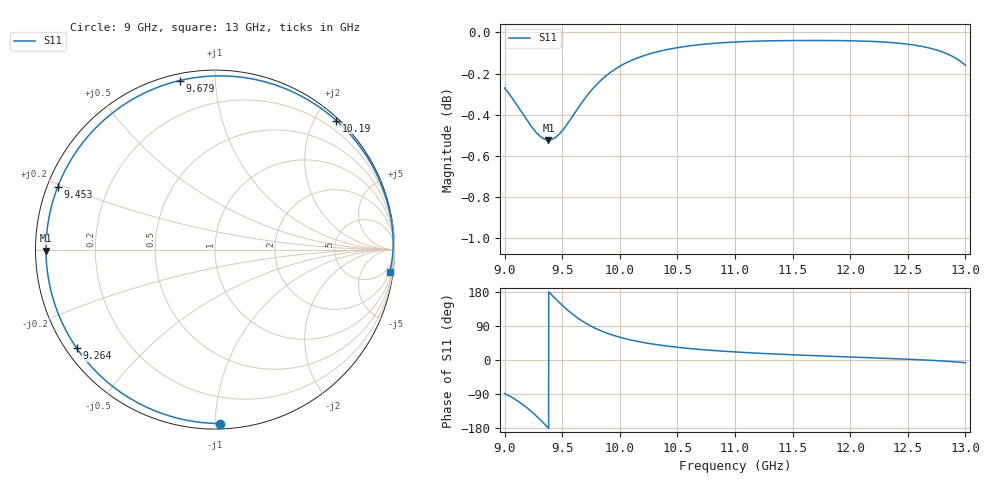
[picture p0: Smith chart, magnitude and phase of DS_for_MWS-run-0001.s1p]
! TOUCHSTONE file generated by CST DESIGN STUDIO
! Date and time: Tue Feb  4 17:12:42 2025
! Project name: C:\Work\MatlabApps\UnitCellOptimizationMatlab\CST\unitcell.cst
! Tree item: Tasks\Sweep1\SPara1\S-Parameters
! Header version: 2024
! Port assignment regex: !\s*Touchstone port\s*([0-9]+)\s*=\s*(CST MWS port|CST DES external port|CST DES block port)\s*(.+)\s* \(\"(.*)\"\)(\s*mode\s*([0-9]+))?.*
! Touchstone port assignment:
! Touchstone port 1 = CST DES external port 1 ("")
# GHz S MA R 50
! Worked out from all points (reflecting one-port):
!   4001 points, 9 GHz to 13 GHz, reference 50 ohm
!   lowest |S11| = -0.5 dB at 9.381 GHz (marker M1), VSWR 33.26, Z = 1.5 - j0.176 ohm
!   phase of S11 starts at -88 deg and turns -279 deg over the sweep
!   S11 on the Smith chart (normalised r, x): 9 GHz: 0.03, -1.03; 9.264 GHz: 0.03, -0.32; 9.453 GHz: 0.03, +0.19; 9.679 GHz: 0.03, +0.81; 10.19 GHz: 0.04, +2.31; 13 GHz: 2, -15
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9  0.9694 -88.3
9.077  0.9629 -101.1
9.144  0.9568 -114.6
9.205  0.9511 -128.9
9.264  0.9463 -144.6
9.325  0.9428 -162.4
9.381  0.9416 -179.6
9.416  0.9421 169.6
9.453  0.9435 158.3
9.5  0.9464 144.5
9.543  0.9499 132.7
9.586  0.9538 121.9
9.631  0.9579 111.6
9.679  0.9622 101.8
9.748  0.9677 89.7
9.832  0.9733 77.6
9.913  0.9776 68.3
10  0.9812 60.1
10.091  0.9842 53.1
10.193  0.9867 46.8
10.334  0.9893 39.8
10.5  0.9915 33.5
11  0.9946 21.3
11.5  0.9955 13.7
12  0.9953 7.9
12.5  0.9934 2.1
12.782  0.9895 -2.2
13  0.9818 -7.4
